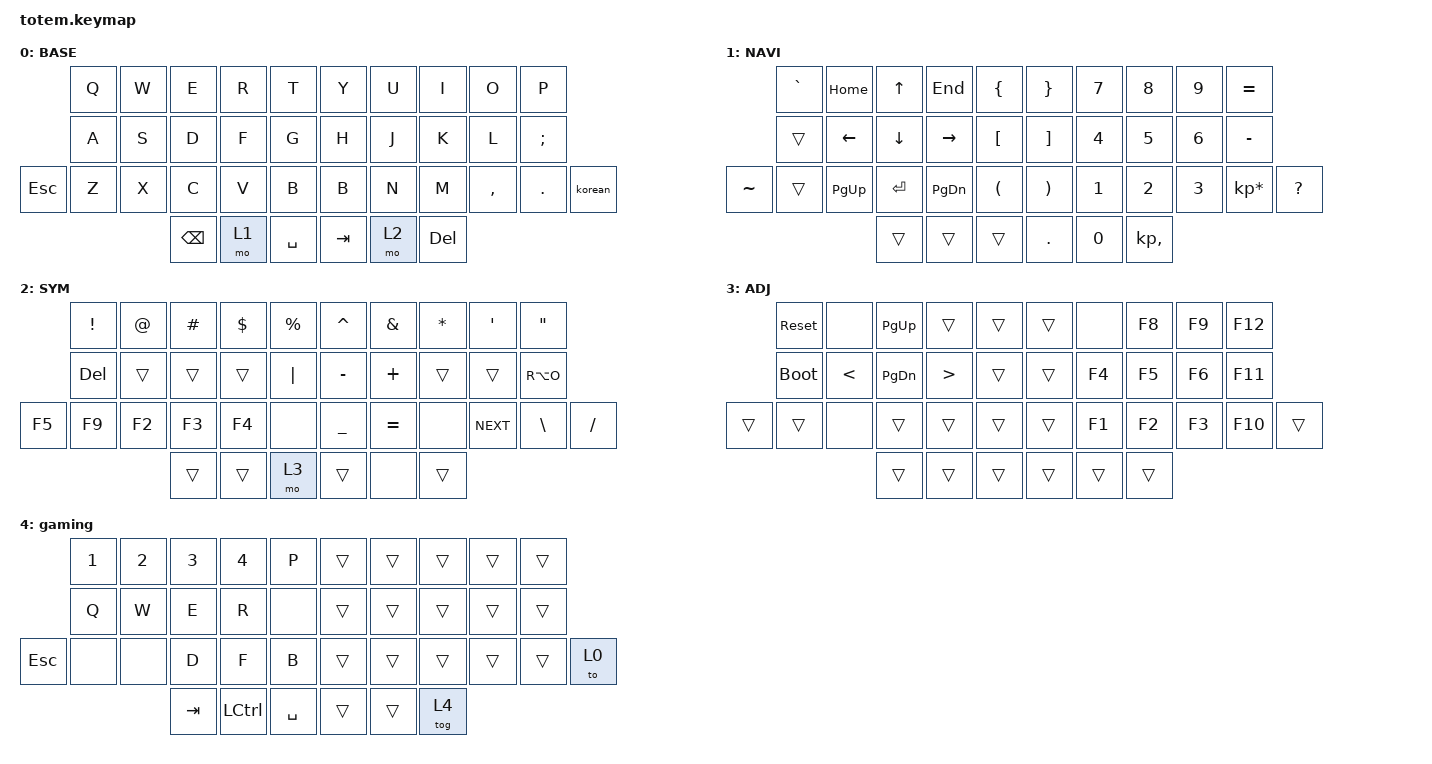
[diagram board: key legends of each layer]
//
//                                                        ▀▀▀▀▀     ▀▀▀▀▀          ▀▀█▀▀
//                                                        ▄▀▀▀▄  ▄  ▄▀▀▀▄  ▄  ▄▀▀▀▄  █  ▄▀▀▀▄
//                                                        █   █  █  █   █  █  █   █  █  █   █
//                                                         ▀▀▀   █   ▀▀▀   █   ▀▀▀   ▀   ▀▀▀
//                                                               █      ▄▄▄█▄▄▄    █   █  
//                                                               ▀      █  █  █     █▄█
//                                                             ▀▀▀▀▀    █  █  █      ▀
//                                                                      ▀  ▀  ▀
//
// ▄▄▄▄▄▄▄▄▄▄▄▄▄▄▄▄▄▄▄▄▄▄▄▄▄▄▄▄▄▄▄▄▄▄▄▄▄▄▄▄▄▄▄▄▄▄▄▄▄▄▄▄▄▄▄▄▄▄▄▄▄▄▄▄▄▄▄▄▄▄▄▄▄▄▄▄▄▄▄▄▄▄▄▄▄▄▄▄▄▄▄▄▄▄▄▄▄▄▄▄▄▄▄▄▄▄▄▄▄▄▄▄▄▄▄▄▄▄▄▄▄▄▄▄▄▄▄▄▄▄▄▄▄▄▄▄▄▄▄▄▄▄▄▄▄▄▄▄▄

#include <behaviors.dtsi>
#include <dt-bindings/zmk/keys.h>

#define BASE 0
#define NAV  1
#define SYM  2
#define ADJ  3
#define TVP1 4
#define TVP2 5

&mt {
    quick-tap-ms = <150>;
    global-quick-tap;
    flavor = "tap-preferred";
    tapping-term-ms = <170>;
};

/ {
    combos {
        compatible = "zmk,combos";

        shift {
            bindings = <&kp LEFT_SHIFT>;
            key-positions = <34 13>;
            timeout-ms = <120>;
        };

        ctrl {
            bindings = <&kp LCTRL>;
            key-positions = <34 12>;
            timeout-ms = <120>;
        };

        alt {
            bindings = <&kp LEFT_ALT>;
            key-positions = <34 20>;
            timeout-ms = <80>;
        };

        rightshfht {
            bindings = <&kp LEFT_SHIFT>;
            key-positions = <35 16>;
            timeout-ms = <120>;
        };

        rightctrl {
            bindings = <&kp LCTRL>;
            key-positions = <35 17>;
            timeout-ms = <120>;
        };

        ralt {
            bindings = <&kp LEFT_ALT>;
            key-positions = <35 18>;
            timeout-ms = <120>;
        };

        ctrlshift {
            bindings = <&kp LC(LEFT_SHIFT)>;
            key-positions = <13 12 34>;
        };

        altctrl {
            bindings = <&kp LA(LCTRL)>;
            key-positions = <11 12 34>;
        };

        third_layer {
            bindings = <&mo 3>;
            key-positions = <16 17 35>;
        };

        four_layer {
            bindings = <&to 4>;
            key-positions = <34 35 36>;
        };
    };

    behaviors {
        korean: korean {
            compatible = "zmk,behavior-tap-dance";
            label = "KOREAN";
            #binding-cells = <0>;
            bindings = <&kp SQT>, <&kp RIGHT_ALT>;
        };
    };

    keymap {
        compatible = "zmk,keymap";

        // ▄▄▄▄▄▄▄▄▄▄▄▄▄▄▄▄▄▄▄▄▄▄▄▄▄▄▄▄▄▄▄▄▄▄▄▄▄▄▄▄▄▄▄▄▄▄▄▄▄▄▄▄▄▄▄▄▄▄▄▄▄▄▄▄▄▄▄▄▄▄▄▄▄▄▄▄▄▄▄▄▄▄▄▄▄▄▄▄▄▄▄▄▄▄▄▄▄▄▄▄▄▄▄▄▄▄▄▄▄▄▄▄▄▄▄▄▄▄▄▄▄▄▄▄▄▄▄▄▄▄▄▄▄▄▄▄▄▄▄▄▄▄▄▄▄▄▄▄▄

        base_layer {
            // ┏━━━━━━━━━━━━━━━━━━━━━━━━━━━━━━━━━━━━━━━┓

            label = "BASE";

            // ┗━━━━━━━━━━━━━━━━━━━━━━━━━━━━━━━━━━━━━━━┛
            //             ┏━━━━━━━━━━━┳━━━━━━━━━━━┳━━━━━━━━━━━┳━━━━━━━━━━━┳━━━━━━━━━━━┓   ┏━━━━━━━━━━━┳━━━━━━━━━━━┳━━━━━━━━━━━┳━━━━━━━━━━━┳━━━━━━━━━━━┓
            //             ┃     Q     ┃     W     ┃     F     ┃     P     ┃     G     ┃   ┃     J     ┃     L     ┃     U     ┃     Y     ┃     ;     ┃
            //             ┣━━━━━━━━━━━╋━━━━━━━━━━━╋━━━━━━━━━━━╋━━━━━━━━━━━╋━━━━━━━━━━━┫   ┣━━━━━━━━━━━╋━━━━━━━━━━━╋━━━━━━━━━━━╋━━━━━━━━━━━╋━━━━━━━━━━━┫
            //             ┃     A     ┃     R     ┃     S     ┃     T     ┃     D     ┃   ┃     H     ┃     N     ┃     E     ┃     I     ┃     O     ┃
            // ┏━━━━━━━━━━━╋━━━━━━━━━━━╋━━━━━━━━━━━╋━━━━━━━━━━━╋━━━━━━━━━━━╋━━━━━━━━━━━┫   ┣━━━━━━━━━━━╋━━━━━━━━━━━╋━━━━━━━━━━━╋━━━━━━━━━━━╋━━━━━━━━━━━╋━━━━━━━━━━━┓
            // ┃     Q     ┃     Z     ┃     X     ┃     C     ┃     V     ┃     B     ┃   ┃     K     ┃     M     ┃     ,     ┃     .     ┃     /     ┃     \     ┃
            // ┗━━━━━━━━━━━┻━━━━━━━━━━━┻━━━━━━━━━━━╋━━━━━━━━━━━╋━━━━━━━━━━━╋━━━━━━━━━━━┫   ┣━━━━━━━━━━━╋━━━━━━━━━━━╋━━━━━━━━━━━╋━━━━━━━━━━━┻━━━━━━━━━━━┻━━━━━━━━━━━┛
            //                                     ┃    DEL    ┃    TAB    ┃    SPC    ┃   ┃   ENTER   ┃           ┃   BSPC    ┃
            //                                     ┗━━━━━━━━━━━┻━━━━━━━━━━━┻━━━━━━━━━━━┛   ┗━━━━━━━━━━━┻━━━━━━━━━━━┻━━━━━━━━━━━┛

            bindings = <
            &kp Q  &kp W  &kp E          &kp R  &kp T        &kp Y    &kp U  &kp I       &kp O      &kp P
            &kp A  &kp S  &kp D          &kp F  &kp G        &kp H    &kp J  &kp K       &kp L      &kp SEMICOLON
&kp ESCAPE  &kp Z  &kp X  &kp C          &kp V  &kp B        &kp B    &kp N  &kp M       &kp COMMA  &kp PERIOD     &korean
                          &kp BACKSPACE  &mo 1  &kp SPACE    &kp TAB  &mo 2  &kp DELETE
            >;
        };

        // ▄▄▄▄▄▄▄▄▄▄▄▄▄▄▄▄▄▄▄▄▄▄▄▄▄▄▄▄▄▄▄▄▄▄▄▄▄▄▄▄▄▄▄▄▄▄▄▄▄▄▄▄▄▄▄▄▄▄▄▄▄▄▄▄▄▄▄▄▄▄▄▄▄▄▄▄▄▄▄▄▄▄▄▄▄▄▄▄▄▄▄▄▄▄▄▄▄▄▄▄▄▄▄▄▄▄▄▄▄▄▄▄▄▄▄▄▄▄▄▄▄▄▄▄▄▄▄▄▄▄▄▄▄▄▄▄▄▄▄▄▄▄▄▄▄▄▄▄▄

        nav_layer {
            // ┏━━━━━━━━━━━━━━━━━━━━━━━━━━━━━━━━━━━━━━━┓

            label = "NAVI";

            // ┗━━━━━━━━━━━━━━━━━━━━━━━━━━━━━━━━━━━━━━━┛
            //             ┏━━━━━━━━━━━┳━━━━━━━━━━━┳━━━━━━━━━━━┳━━━━━━━━━━━┳━━━━━━━━━━━┓   ┏━━━━━━━━━━━┳━━━━━━━━━━━┳━━━━━━━━━━━┳━━━━━━━━━━━┳━━━━━━━━━━━┓
            //             ┃           ┃           ┃     UP    ┃           ┃     {     ┃   ┃     }     ┃     7     ┃     8     ┃     9     ┃     +     ┃
            //             ┣━━━━━━━━━━━╋━━━━━━━━━━━╋━━━━━━━━━━━╋━━━━━━━━━━━╋━━━━━━━━━━━┫   ┣━━━━━━━━━━━╋━━━━━━━━━━━╋━━━━━━━━━━━╋━━━━━━━━━━━╋━━━━━━━━━━━┫
            //             ┃   SHIFT   ┃   LEFT    ┃    DOWN   ┃   RIGHT   ┃     [     ┃   ┃     ]     ┃     4     ┃     5     ┃     6     ┃     -     ┃
            // ┏━━━━━━━━━━━╋━━━━━━━━━━━╋━━━━━━━━━━━╋━━━━━━━━━━━╋━━━━━━━━━━━╋━━━━━━━━━━━┫   ┣━━━━━━━━━━━╋━━━━━━━━━━━╋━━━━━━━━━━━╋━━━━━━━━━━━╋━━━━━━━━━━━╋━━━━━━━━━━━┓
            // ┃           ┃           ┃   P UP    ┃  C LOCK   ┃  P DOWN   ┃     (     ┃   ┃     )     ┃     1     ┃     2     ┃     3     ┃     *     ┃           ┃
            // ┗━━━━━━━━━━━┻━━━━━━━━━━━┻━━━━━━━━━━━╋━━━━━━━━━━━╋━━━━━━━━━━━╋━━━━━━━━━━━┫   ┣━━━━━━━━━━━╋━━━━━━━━━━━╋━━━━━━━━━━━╋━━━━━━━━━━━┻━━━━━━━━━━━┻━━━━━━━━━━━┛
            //                                     ┃           ┃    TAB    ┃    SPC    ┃   ┃    DEL    ┃     0     ┃           ┃
            //                                     ┗━━━━━━━━━━━┻━━━━━━━━━━━┻━━━━━━━━━━━┛   ┗━━━━━━━━━━━┻━━━━━━━━━━━┻━━━━━━━━━━━┛

            bindings = <
           &kp GRAVE  &kp HOME        &kp UP          &kp END          &kp LBRC    &kp RBRC    &kp N7        &kp N8        &kp N9        &kp EQUAL
           &trans     &kp LEFT_ARROW  &kp DOWN_ARROW  &kp RIGHT_ARROW  &kp LBKT    &kp RBKT    &kp NUMBER_4  &kp N5        &kp NUMBER_6  &kp MINUS
&kp TILDE  &trans     &kp PG_UP       &kp ENTER       &kp PG_DN        &kp LPAR    &kp RPAR    &kp NUMBER_1  &kp N2        &kp N3        &kp KP_MULTIPLY  &kp QUESTION
                                      &trans          &trans           &trans      &kp PERIOD  &kp N0        &kp KP_COMMA
            >;
        };

        // ▄▄▄▄▄▄▄▄▄▄▄▄▄▄▄▄▄▄▄▄▄▄▄▄▄▄▄▄▄▄▄▄▄▄▄▄▄▄▄▄▄▄▄▄▄▄▄▄▄▄▄▄▄▄▄▄▄▄▄▄▄▄▄▄▄▄▄▄▄▄▄▄▄▄▄▄▄▄▄▄▄▄▄▄▄▄▄▄▄▄▄▄▄▄▄▄▄▄▄▄▄▄▄▄▄▄▄▄▄▄▄▄▄▄▄▄▄▄▄▄▄▄▄▄▄▄▄▄▄▄▄▄▄▄▄▄▄▄▄▄▄▄▄▄▄▄▄▄▄

        sim_layer {
            // ┏━━━━━━━━━━━━━━━━━━━━━━━━━━━━━━━━━━━━━━━┓

            label = "SYM";

            // ┗━━━━━━━━━━━━━━━━━━━━━━━━━━━━━━━━━━━━━━━┛
            //             ┏━━━━━━━━━━━┳━━━━━━━━━━━┳━━━━━━━━━━━┳━━━━━━━━━━━┳━━━━━━━━━━━┓   ┏━━━━━━━━━━━┳━━━━━━━━━━━┳━━━━━━━━━━━┳━━━━━━━━━━━┳━━━━━━━━━━━┓
            //             ┃     !     ┃     @     ┃     #     ┃     $     ┃     %     ┃   ┃     ˆ     ┃     &     ┃     Ü     ┃     '     ┃     "     ┃
            //             ┣━━━━━━━━━━━╋━━━━━━━━━━━╋━━━━━━━━━━━╋━━━━━━━━━━━╋━━━━━━━━━━━┫   ┣━━━━━━━━━━━╋━━━━━━━━━━━╋━━━━━━━━━━━╋━━━━━━━━━━━╋━━━━━━━━━━━┫
            //             ┃     Ä     ┃           ┃    SZ     ┃           ┃           ┃   ┃   MUTE    ┃   YEN     ┃   EURO    ┃  POUND    ┃     Ö     ┃
            // ┏━━━━━━━━━━━╋━━━━━━━━━━━╋━━━━━━━━━━━╋━━━━━━━━━━━╋━━━━━━━━━━━╋━━━━━━━━━━━┫   ┣━━━━━━━━━━━╋━━━━━━━━━━━╋━━━━━━━━━━━╋━━━━━━━━━━━╋━━━━━━━━━━━╋━━━━━━━━━━━┓
            // ┃           ┃  EMAIL1   ┃  EMAIL2   ┃           ┃           ┃           ┃   ┃   VOL-    ┃   VOL+    ┃   LAST    ┃   NEXT    ┃     \     ┃           ┃
            // ┗━━━━━━━━━━━┻━━━━━━━━━━━┻━━━━━━━━━━━╋━━━━━━━━━━━╋━━━━━━━━━━━╋━━━━━━━━━━━┫   ┣━━━━━━━━━━━╋━━━━━━━━━━━╋━━━━━━━━━━━╋━━━━━━━━━━━┻━━━━━━━━━━━┻━━━━━━━━━━━┛
            //                                     ┃           ┃    GIF    ┃    ADJ    ┃   ┃           ┃           ┃           ┃
            //                                     ┗━━━━━━━━━━━┻━━━━━━━━━━━┻━━━━━━━━━━━┛   ┗━━━━━━━━━━━┻━━━━━━━━━━━┻━━━━━━━━━━━┛

            bindings = <
        &kp EXCL  &kp AT  &kp HASH  &kp DLLR  &kp PRCNT    &kp CARET  &kp AMPS   &kp ASTERISK  &kp SQT     &kp DQT
        &kp DEL   &trans  &trans    &trans    &kp PIPE     &kp MINUS  &kp PLUS   &trans        &trans      &kp RA(O)
&kp F5  &kp F9    &kp F2  &kp F3    &kp F4    &none        &kp UNDER  &kp EQUAL  &none         &kp C_NEXT  &kp BSLH   &kp SLASH
                          &trans    &trans    &mo 3        &trans     &none      &trans
            >;
        };

        // ▄▄▄▄▄▄▄▄▄▄▄▄▄▄▄▄▄▄▄▄▄▄▄▄▄▄▄▄▄▄▄▄▄▄▄▄▄▄▄▄▄▄▄▄▄▄▄▄▄▄▄▄▄▄▄▄▄▄▄▄▄▄▄▄▄▄▄▄▄▄▄▄▄▄▄▄▄▄▄▄▄▄▄▄▄▄▄▄▄▄▄▄▄▄▄▄▄▄▄▄▄▄▄▄▄▄▄▄▄▄▄▄▄▄▄▄▄▄▄▄▄▄▄▄▄▄▄▄▄▄▄▄▄▄▄▄▄▄▄▄▄▄▄▄▄▄▄▄▄

        adjust_layer {
            // ┏━━━━━━━━━━━━━━━━━━━━━━━━━━━━━━━━━━━━━━━┓

            label = "ADJ";

            // ┗━━━━━━━━━━━━━━━━━━━━━━━━━━━━━━━━━━━━━━━┛
            //             ┏━━━━━━━━━━━┳━━━━━━━━━━━┳━━━━━━━━━━━┳━━━━━━━━━━━┳━━━━━━━━━━━┓   ┏━━━━━━━━━━━┳━━━━━━━━━━━┳━━━━━━━━━━━┳━━━━━━━━━━━┳━━━━━━━━━━━┓
            //             ┃   RESET   ┃ BT CLEAR  ┃  OUT TOG  ┃           ┃           ┃   ┃           ┃    F7     ┃    F8     ┃    F9     ┃    F12    ┃
            //             ┣━━━━━━━━━━━╋━━━━━━━━━━━╋━━━━━━━━━━━╋━━━━━━━━━━━╋━━━━━━━━━━━┫   ┣━━━━━━━━━━━╋━━━━━━━━━━━╋━━━━━━━━━━━╋━━━━━━━━━━━╋━━━━━━━━━━━┫
            //             ┃ BOOTLOAD  ┃ BT NEXT   ┃           ┃           ┃           ┃   ┃           ┃    F4     ┃    F5     ┃    F6     ┃    F11    ┃
            // ┏━━━━━━━━━━━╋━━━━━━━━━━━╋━━━━━━━━━━━╋━━━━━━━━━━━╋━━━━━━━━━━━╋━━━━━━━━━━━┫   ┣━━━━━━━━━━━╋━━━━━━━━━━━╋━━━━━━━━━━━╋━━━━━━━━━━━╋━━━━━━━━━━━╋━━━━━━━━━━━┓
            // ┃           ┃           ┃ BT PREV   ┃           ┃           ┃           ┃   ┃           ┃    F1     ┃    F2     ┃    F3     ┃    F10    ┃           ┃
            // ┗━━━━━━━━━━━┻━━━━━━━━━━━┻━━━━━━━━━━━╋━━━━━━━━━━━╋━━━━━━━━━━━╋━━━━━━━━━━━┫   ┣━━━━━━━━━━━╋━━━━━━━━━━━╋━━━━━━━━━━━╋━━━━━━━━━━━┻━━━━━━━━━━━┻━━━━━━━━━━━┛
            //                                     ┃           ┃           ┃           ┃   ┃           ┃           ┃           ┃
            //                                     ┗━━━━━━━━━━━┻━━━━━━━━━━━┻━━━━━━━━━━━┛   ┗━━━━━━━━━━━┻━━━━━━━━━━━┻━━━━━━━━━━━┛

            bindings = <
        &sys_reset   &none          &kp PAGE_UP    &trans            &trans    &trans  &none   &kp F8  &kp F9  &kp F12
        &bootloader  &kp LESS_THAN  &kp PAGE_DOWN  &kp GREATER_THAN  &trans    &trans  &kp F4  &kp F5  &kp F6  &kp F11
&trans  &trans       &none          &trans         &trans            &trans    &trans  &kp F1  &kp F2  &kp F3  &kp F10  &trans
                                    &trans         &trans            &trans    &trans  &trans  &trans
            >;
        };

        // ▄▄▄▄▄▄▄▄▄▄▄▄▄▄▄▄▄▄▄▄▄▄▄▄▄▄▄▄▄▄▄▄▄▄▄▄▄▄▄▄▄▄▄▄▄▄▄▄▄▄▄▄▄▄▄▄▄▄▄▄▄▄▄▄▄▄▄▄▄▄▄▄▄▄▄▄▄▄▄▄▄▄▄▄▄▄▄▄▄▄▄▄▄▄▄▄▄▄▄▄▄▄▄▄▄▄▄▄▄▄▄▄▄▄▄▄▄▄▄▄▄▄▄▄▄▄▄▄▄▄▄▄▄▄▄▄▄▄▄▄▄▄▄▄▄▄▄▄▄
        // ▄▄▄▄▄▄▄▄▄▄▄▄▄▄▄▄▄▄▄▄▄▄▄▄▄▄▄▄▄▄▄▄▄▄▄▄▄▄▄▄▄▄▄▄▄▄▄▄▄▄▄▄▄▄▄▄▄▄▄▄▄▄▄▄▄▄▄▄▄▄▄▄▄▄▄▄▄▄▄▄▄▄▄▄▄▄▄▄▄▄▄▄▄▄▄▄▄▄▄▄▄▄▄▄▄▄▄▄▄▄▄▄▄▄▄▄▄▄▄▄▄▄▄▄▄▄▄▄▄▄▄▄▄▄▄▄▄▄▄▄▄▄▄▄▄▄▄▄▄

        gaming {
            bindings = <
            &kp NUMBER_1  &kp NUMBER_2  &kp NUMBER_3  &kp NUMBER_4  &kp P        &trans  &trans  &trans  &trans  &trans
            &kp Q         &kp W         &kp E         &kp R         &none        &trans  &trans  &trans  &trans  &trans
&kp ESCAPE  &none         &none         &kp D         &kp F         &kp B        &trans  &trans  &trans  &trans  &trans  &to 0
                                        &kp TAB       &kp LCTRL     &kp SPACE    &trans  &trans  &tog 4
            >;
        };
    };
};
